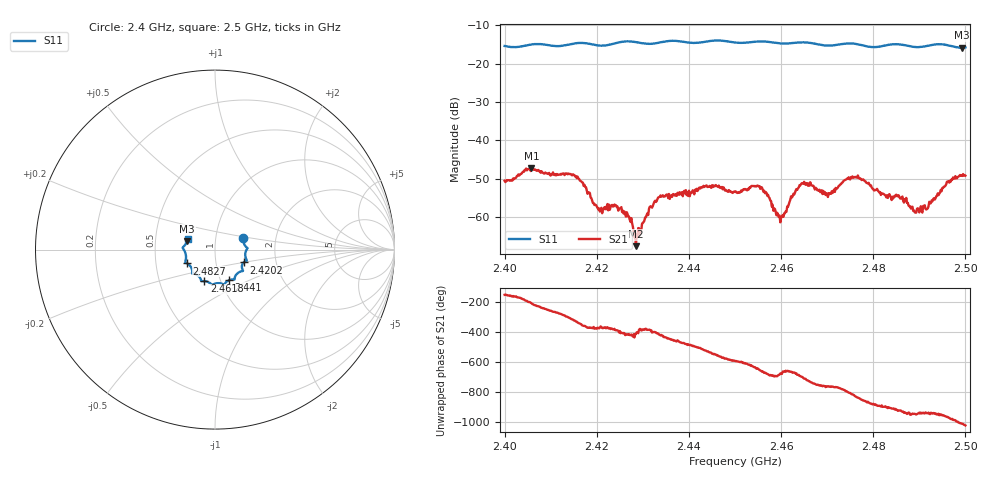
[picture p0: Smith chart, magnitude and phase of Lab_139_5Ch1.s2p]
# Hz S RI R 50
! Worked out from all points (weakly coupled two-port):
!   601 points, 2.4 GHz to 2.5 GHz, reference 50 ohm
!   highest |S21| = -47.24 dB at 2.4058 GHz (marker M1); lowest = -67.6 dB at 2.4285 GHz (marker M2)
!   lowest |S11| = -15.8 dB at 2.4992 GHz (marker M3), VSWR 1.39, Z = 36.4 + j3.62 ohm
!   |S11| at or under -10 dB: start of sweep to end of sweep
!   S12 and S22 are empty: the file has one direction only
!   S11 on the Smith chart (normalised r, x): 2.4 GHz: 1.36, +0.18; 2.4202 GHz: 1.36, -0.20; 2.441 GHz: 1.10, -0.39; 2.4618 GHz: 0.84, -0.30; 2.4827 GHz: 0.72, -0.11; 2.5 GHz: 0.73, +0.09
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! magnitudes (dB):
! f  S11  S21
! 2.4 GHz  -15.3  -50.5
! 2.4058 GHz  -14.9  -47.2
! 2.4167 GHz  -14.6  -50.7
! 2.4202 GHz  -15.2  -57.6
! 2.4255 GHz  -14.3  -58.7
! 2.4285 GHz  -14.3  -67.6
! 2.4333 GHz  -14.5  -54.9
! 2.441 GHz  -14.6  -53.5
! 2.4455 GHz  -13.9  -52.0
! 2.45 GHz  -14.4  -53.5
! 2.4553 GHz  -14.2  -51.9
! 2.46 GHz  -14.7  -60.2
! 2.4618 GHz  -14.7  -56.1
! 2.4645 GHz  -14.4  -51.2
! 2.4667 GHz  -14.6  -51.8
! 2.4702 GHz  -15.3  -54.8
! 2.4763 GHz  -14.8  -49.7
! 2.4827 GHz  -15.2  -54.4
! 2.4833 GHz  -15.0  -54.4
! 2.4895 GHz  -15.7  -57.8
! 2.4992 GHz  -15.8  -49.1
! 2.5 GHz  -15.7  -49.2
